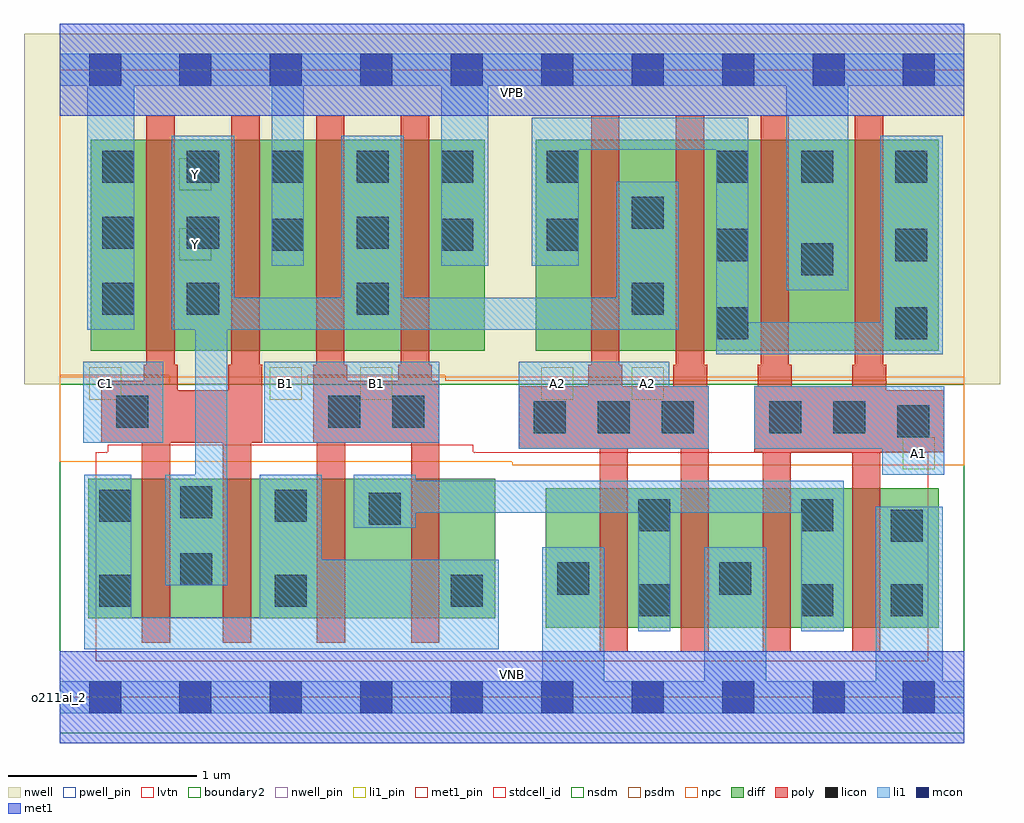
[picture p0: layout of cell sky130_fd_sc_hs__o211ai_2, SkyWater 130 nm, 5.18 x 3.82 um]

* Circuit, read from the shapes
.subckt sky130_fd_sc_hs__o211ai_2 A1 A2 B1 C1 VGND VNB VPB VPWR Y
XM1 Y C1 n1 VNB sky130_fd_pr__nfet_01v8_lvt w=0.74 l=0.15 m=2
XM2 n2 B1 n1 VNB sky130_fd_pr__nfet_01v8_lvt w=0.74 l=0.15 m=2
XM3 n2 A2 VGND VNB sky130_fd_pr__nfet_01v8_lvt w=0.74 l=0.15 m=2
XM4 n2 A1 VGND VNB sky130_fd_pr__nfet_01v8_lvt w=0.74 l=0.15 m=2
XM5 Y C1 VPWR VPB sky130_fd_pr__pfet_01v8 w=1.12 l=0.15 m=2
XM6 Y B1 VPWR VPB sky130_fd_pr__pfet_01v8 w=1.12 l=0.15 m=2
XM7 Y A2 n3 VPB sky130_fd_pr__pfet_01v8 w=1.12 l=0.15 m=2
XM8 VPWR A1 n3 VPB sky130_fd_pr__pfet_01v8 w=1.12 l=0.15 m=2
.ends

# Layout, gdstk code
import gdstk
lib = gdstk.Library(unit=1e-6, precision=1e-09)
def R(c, l, rs):  # rectangles x0, y0, x1, y1
    for r in rs: c.add(gdstk.rectangle(r[:2], r[2:], *l))
def A(c, l, x, y, w, h, nx, ny, dx, dy):  # array of equal rectangles
    R(c, l, [(x+i*dx, y+j*dy, x+i*dx+w, y+j*dy+h) for i in range(nx) for j in range(ny)])
def P(c, l, *ps):  # polygons
    for p in ps: c.add(gdstk.Polygon(p, *l))
nwell_pin = (64, 16)
nwell = (64, 20)
diff = (65, 20)
poly = (66, 20)
licon = (66, 44)
li1_pin = (67, 16)
li1 = (67, 20)
mcon = (67, 44)
met1_pin = (68, 16)
met1 = (68, 20)
stdcell_id = (81, 4)
nsdm = (93, 44)
psdm = (94, 20)
npc = (95, 20)
pwell_pin = (122, 16)
lvtn = (125, 44)
boundary2 = (236, 0)

sky130_fd_sc_hs__o211ai_ = lib.new_cell('sky130_fd_sc_hs__o211ai_2')
R(sky130_fd_sc_hs__o211ai_, nwell_pin, [(0,3.085,4.8,3.33)])
R(sky130_fd_sc_hs__o211ai_, nwell, [(-0.19,1.66,4.99,3.52)])
R(sky130_fd_sc_hs__o211ai_, diff, [(2.58,0.37,4.665,1.11), (0.15,0.42,2.31,1.16), (0.165,1.84,2.255,2.96), (2.525,1.84,4.665,2.96)])
P(sky130_fd_sc_hs__o211ai_, poly, [(4.695,1.63),(4.385,1.63),(4.385,1.765),(4.37,1.765),(4.37,3.09),(4.22,3.09),(4.22,1.765),(4.205,1.765),(4.205,1.65),(3.885,1.65),(3.885,1.765),(3.87,1.765),(3.87,3.09),(3.72,3.09),(3.72,1.765),(3.705,1.765),(3.705,1.65),(3.685,1.65),(3.685,1.3),(3.73,1.3),(3.73,0.24),(3.88,0.24),(3.88,1.3),(4.205,1.3),(4.205,0.24),(4.355,0.24),(4.355,1.3),(4.695,1.3)],
  [(3.445,1.65),(3.435,1.65),(3.435,1.765),(3.42,1.765),(3.42,3.09),(3.27,3.09),(3.27,1.765),(3.255,1.765),(3.255,1.65),(2.985,1.65),(2.985,1.765),(2.97,1.765),(2.97,3.09),(2.82,3.09),(2.82,1.765),(2.805,1.765),(2.805,1.65),(2.435,1.65),(2.435,1.32),(2.865,1.32),(2.865,0.24),(3.015,0.24),(3.015,1.32),(3.295,1.32),(3.295,0.24),(3.445,0.24)],
  [(2.015,1.68),(1.975,1.68),(1.975,1.765),(1.96,1.765),(1.96,3.09),(1.81,3.09),(1.81,1.765),(1.795,1.765),(1.795,1.68),(1.525,1.68),(1.525,1.765),(1.51,1.765),(1.51,3.09),(1.36,3.09),(1.36,1.765),(1.345,1.765),(1.345,1.35),(1.365,1.35),(1.365,0.29),(1.515,0.29),(1.515,1.35),(1.865,1.35),(1.865,0.29),(2.015,0.29)],
  [(1.075,1.765),(1.06,1.765),(1.06,3.09),(0.91,3.09),(0.91,1.765),(0.895,1.765),(0.895,1.63),(0.625,1.63),(0.625,1.765),(0.61,1.765),(0.61,3.09),(0.46,3.09),(0.46,1.765),(0.445,1.765),(0.445,1.68),(0.22,1.68),(0.22,1.35),(0.435,1.35),(0.435,0.29),(0.585,0.29),(0.585,1.35),(0.865,1.35),(0.865,0.29),(1.015,0.29),(1.015,1.35),(1.075,1.35)])
A(sky130_fd_sc_hs__o211ai_, licon, 2.515, 1.4, 0.17, 0.17, 3, 1, 0.34, 0)
A(sky130_fd_sc_hs__o211ai_, licon, 3.485, 1.9, 0.17, 0.17, 1, 3, 0, 0.415)
A(sky130_fd_sc_hs__o211ai_, licon, 4.435, 1.9, 0.17, 0.17, 1, 3, 0, 0.415)
A(sky130_fd_sc_hs__o211ai_, licon, 0.225, 2.73, 0.17, 0.17, 5, 1, 0.45, 0)
R(sky130_fd_sc_hs__o211ai_, licon, [(3.07,0.43,3.24,0.6), (3.935,0.43,4.105,0.6), (4.41,0.43,4.58,0.6), (0.21,0.48,0.38,0.65), (1.14,0.48,1.31,0.65), (2.075,0.48,2.245,0.65), (2.64,0.545,2.81,0.715), (3.5,0.545,3.67,0.715), (0.64,0.595,0.81,0.765), (4.41,0.825,4.58,0.995), (3.07,0.88,3.24,1.05), (3.935,0.88,4.105,1.05), (1.64,0.915,1.81,1.085), (0.21,0.93,0.38,1.1), (1.14,0.93,1.31,1.1), (0.64,0.95,0.81,1.12), (4.445,1.38,4.615,1.55), (3.765,1.4,3.935,1.57), (4.105,1.4,4.275,1.57), (0.3,1.43,0.47,1.6), (1.425,1.43,1.595,1.6), (1.765,1.43,1.935,1.6), (0.225,2.03,0.395,2.2), (0.675,2.03,0.845,2.2), (1.575,2.03,1.745,2.2), (3.035,2.03,3.205,2.2), (3.935,2.24,4.105,2.41), (1.125,2.37,1.295,2.54), (2.025,2.37,2.195,2.54), (2.585,2.37,2.755,2.54), (0.225,2.38,0.395,2.55), (0.675,2.38,0.845,2.55), (1.575,2.38,1.745,2.55), (3.035,2.485,3.205,2.655), (2.585,2.73,2.755,2.9), (3.935,2.73,4.105,2.9)])
R(sky130_fd_sc_hs__o211ai_, li1_pin, [(4.475,1.21,4.645,1.38), (0.155,1.58,0.325,1.75), (1.115,1.58,1.285,1.75), (1.595,1.58,1.765,1.75), (2.555,1.58,2.725,1.75), (3.035,1.58,3.205,1.75), (0.635,2.32,0.805,2.49), (0.635,2.69,0.805,2.86)])
R(sky130_fd_sc_hs__o211ai_, li1, [(0.125,1.35,0.55,1.78), (1.085,1.35,2.015,1.78)])
P(sky130_fd_sc_hs__o211ai_, li1, [(0,-0.085),(0,0.085),(2.56,0.085),(2.56,0.795),(2.89,0.795),(2.89,0.085),(3.42,0.085),(3.42,0.795),(3.75,0.795),(3.75,0.085),(4.33,0.085),(4.33,1.01),(4.685,1.01),(4.685,0.085),(4.8,0.085),(4.8,-0.085)],
  [(0,3.245),(0,3.415),(4.8,3.415),(4.8,3.245),(4.185,3.245),(4.185,2.16),(3.855,2.16),(3.855,3.245),(2.275,3.245),(2.275,2.29),(2.025,2.29),(2.025,3.245),(1.295,3.245),(1.295,2.29),(1.125,2.29),(1.125,3.245),(0.395,3.245),(0.395,1.95),(0.145,1.95),(0.145,3.245)],
  [(2.435,1.32),(2.435,1.78),(3.235,1.78),(3.235,1.65),(3.445,1.65),(3.445,1.32)],
  [(4.365,1.18),(4.365,1.32),(3.685,1.32),(3.685,1.65),(4.695,1.65),(4.695,1.18)],
  [(0.595,1.95),(0.595,2.98),(0.925,2.98),(0.925,2.12),(1.495,2.12),(1.495,2.98),(1.825,2.98),(1.825,2.12),(2.955,2.12),(2.955,2.735),(3.285,2.735),(3.285,1.95),(0.89,1.95),(0.89,0.595),(0.56,0.595),(0.56,1.18),(0.72,1.18),(0.72,1.95)],
  [(1.06,0.425),(1.06,1.18),(1.39,1.18),(1.39,0.73),(2.33,0.73),(2.33,0.255),(0.13,0.255),(0.13,1.18),(0.38,1.18),(0.38,0.425)],
  [(3.07,0.35),(3.07,0.98),(1.89,0.98),(1.89,0.9),(1.56,0.9),(1.56,1.18),(1.89,1.18),(1.89,1.15),(4.16,1.15),(4.16,0.35),(3.935,0.35),(3.935,0.98),(3.24,0.98),(3.24,0.35)],
  [(2.505,2.29),(2.505,3.075),(3.655,3.075),(3.655,1.99),(4.355,1.99),(4.355,2.98),(4.685,2.98),(4.685,1.82),(3.485,1.82),(3.485,2.905),(2.755,2.905),(2.755,2.29)])
A(sky130_fd_sc_hs__o211ai_, mcon, 0.155, -0.085, 0.17, 0.17, 10, 2, 0.48, 3.33)
R(sky130_fd_sc_hs__o211ai_, met1_pin, [(0,0,4.8,0.245), (0,3.085,4.8,3.33)])
R(sky130_fd_sc_hs__o211ai_, met1, [(0,-0.245,4.8,0.245), (0,3.085,4.8,3.575)])
R(sky130_fd_sc_hs__o211ai_, stdcell_id, [(0,0,4.8,3.33)])
R(sky130_fd_sc_hs__o211ai_, nsdm, [(0,-0.19,4.8,1.66)])
P(sky130_fd_sc_hs__o211ai_, psdm, [(4.8,3.52),(0,3.52),(0,1.71),(0.58,1.71),(0.58,1.66),(1.315,1.66),(1.315,1.71),(2.045,1.71),(2.045,1.68),(4.385,1.68),(4.385,1.66),(4.8,1.66)])
P(sky130_fd_sc_hs__o211ai_, npc, [(4.8,1.7),(0,1.7),(0,1.25),(2.4,1.25),(2.4,1.23),(4.8,1.23)])
R(sky130_fd_sc_hs__o211ai_, pwell_pin, [(0,0,4.8,0.245)])
P(sky130_fd_sc_hs__o211ai_, lvtn, [(4.61,1.3),(2.195,1.3),(2.195,1.34),(0.255,1.34),(0.255,1.3),(0.19,1.3),(0.19,0.19),(4.61,0.19)])
R(sky130_fd_sc_hs__o211ai_, boundary2, [(0,0,4.8,3.33)])
sky130_fd_sc_hs__o211ai_.add(gdstk.Label('o211ai_2', (0,0), layer=83, texttype=44))
sky130_fd_sc_hs__o211ai_.add(gdstk.Label('VNB', (2.4,0.123), layer=64, texttype=59))
sky130_fd_sc_hs__o211ai_.add(gdstk.Label('VPB', (2.4,3.208), layer=64, texttype=5))
sky130_fd_sc_hs__o211ai_.add(gdstk.Label('VPWR', (2.4,3.208), layer=68, texttype=5))
sky130_fd_sc_hs__o211ai_.add(gdstk.Label('VGND', (2.4,0.123), layer=68, texttype=5))
sky130_fd_sc_hs__o211ai_.add(gdstk.Label('C1', (0.24,1.665), layer=67, texttype=5))
sky130_fd_sc_hs__o211ai_.add(gdstk.Label('B1', (1.2,1.665), layer=67, texttype=5))
sky130_fd_sc_hs__o211ai_.add(gdstk.Label('B1', (1.68,1.665), layer=67, texttype=5))
sky130_fd_sc_hs__o211ai_.add(gdstk.Label('A2', (2.64,1.665), layer=67, texttype=5))
sky130_fd_sc_hs__o211ai_.add(gdstk.Label('A2', (3.12,1.665), layer=67, texttype=5))
sky130_fd_sc_hs__o211ai_.add(gdstk.Label('A1', (4.56,1.295), layer=67, texttype=5))
sky130_fd_sc_hs__o211ai_.add(gdstk.Label('Y', (0.72,2.405), layer=67, texttype=5))
sky130_fd_sc_hs__o211ai_.add(gdstk.Label('Y', (0.72,2.775), layer=67, texttype=5))

lib.write_gds('sky130_fd_sc_hs__o211ai_2.gds')
